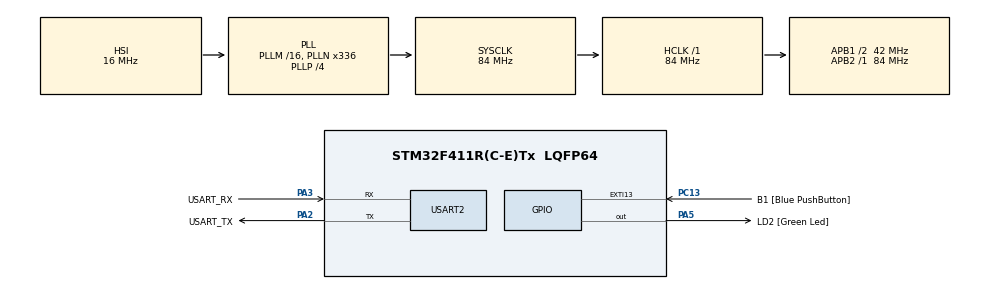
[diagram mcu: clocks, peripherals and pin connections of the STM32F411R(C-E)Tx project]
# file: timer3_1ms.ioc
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Mcu.Family=STM32F4
Mcu.Name=STM32F411R(C-E)Tx
Mcu.Package=LQFP64
NVIC.PriorityGroup=NVIC_PRIORITYGROUP_0
NVIC.TIM3_IRQn=true\:0\:0\:false\:false\:true\:true\:true\:true
PA13.GPIO_Label=TMS
PA13.Mode=Serial_Wire
PA13.Signal=SYS_JTMS-SWDIO
PA14.GPIO_Label=TCK
PA14.Mode=Serial_Wire
PA14.Signal=SYS_JTCK-SWCLK
PA2.GPIO_Label=USART_TX
PA2.Mode=Asynchronous
PA2.Signal=USART2_TX
PA3.GPIO_Label=USART_RX
PA3.Mode=Asynchronous
PA3.Signal=USART2_RX
PA5.GPIO_Label=LD2 [Green Led]
PA5.Signal=GPIO_Output
PB3.GPIO_Label=SWO
PB3.Signal=SYS_JTDO-SWO
PC13-ANTI_TAMP.GPIO_Label=B1 [Blue PushButton]
PC13-ANTI_TAMP.GPIO_ModeDefaultEXTI=GPIO_MODE_IT_FALLING
PC13-ANTI_TAMP.Signal=GPXTI13
PC14-OSC32_IN.Signal=RCC_OSC32_IN
PC15-OSC32_OUT.Signal=RCC_OSC32_OUT
PH0\ -\ OSC_IN.Signal=RCC_OSC_IN
PH1\ -\ OSC_OUT.Signal=RCC_OSC_OUT
ProjectManager.HeapSize=0x200
ProjectManager.StackSize=0x400
ProjectManager.TargetToolchain=STM32CubeIDE
RCC.48MHZClocksFreq_Value=84000000
RCC.AHBFreq_Value=84000000
RCC.APB1CLKDivider=RCC_HCLK_DIV2
RCC.APB1Freq_Value=42000000
RCC.APB1TimFreq_Value=84000000
RCC.APB2Freq_Value=84000000
RCC.APB2TimFreq_Value=84000000
RCC.CortexFreq_Value=84000000
RCC.FLatency-AdvancedSettings=FLASH_LATENCY_2
RCC.HCLKFreq_Value=84000000
RCC.HSE_VALUE=8000000
RCC.HSI_VALUE=16000000
RCC.LSE_VALUE=32768
RCC.PLLN=336
RCC.PLLP=RCC_PLLP_DIV4
RCC.SYSCLKFreq_VALUE=84000000
RCC.SYSCLKSource=RCC_SYSCLKSOURCE_PLLCLK
RCC.VCOOutputFreq_Value=336000000
TIM3.AutoReloadPreload=TIM_AUTORELOAD_PRELOAD_ENABLE
TIM3.Period=1000-1
TIM3.Prescaler=84-1
USART2.VirtualMode=VM_ASYNC
VP_TIM3_VS_ClockSourceINT.Mode=Internal
board=NUCLEO-F411RE

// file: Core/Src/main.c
/* USER CODE BEGIN Header */
/**
  ******************************************************************************
  * @file           : main.c
  * @brief          : Main program body
  ******************************************************************************
  * @attention
  *
  * Copyright (c) 2025 STMicroelectronics.
  * All rights reserved.
  *
  * This software is licensed under terms that can be found in the LICENSE file
  * in the root directory of this software component.
  * If no LICENSE file comes with this software, it is provided AS-IS.
  *
  ******************************************************************************
  */
/* USER CODE END Header */
#include "main.h"

/* USER CODE BEGIN Includes */
#include <stdio.h>
/* USER CODE END Includes */

/* USER CODE BEGIN PD */
#ifdef __GNUC__
/* With GCC, small printf (option LD Linker->Libraries->Small printf
   set to 'Yes') calls __io_putchar() */
#define PUTCHAR_PROTOTYPE int __io_putchar(int ch)
#else
#define PUTCHAR_PROTOTYPE int fputc(int ch, FILE *f)
#endif /* __GNUC__ */

/* USER CODE END PD */

TIM_HandleTypeDef htim3;

UART_HandleTypeDef huart2;

/* USER CODE BEGIN PV */
volatile int time3SecFlag = 0;
volatile unsigned int time3SecCnt = 0;
volatile unsigned int time3Cnt = 0;
volatile int time3CntFlag = 1;
/* USER CODE END PV */

void SystemClock_Config(void);
static void MX_GPIO_Init(void);
static void MX_USART2_UART_Init(void);
static void MX_TIM3_Init(void);

int main(void)
{

  /* MCU Configuration--------------------------------------------------------*/

  /* Reset of all peripherals, Initializes the Flash interface and the Systick. */
  HAL_Init();

  /* Configure the system clock */
  SystemClock_Config();

  /* Initialize all configured peripherals */
  MX_GPIO_Init();
  MX_USART2_UART_Init();
  MX_TIM3_Init();
  /* USER CODE BEGIN 2 */
  printf("main start()!!\r\n");
  if(HAL_TIM_Base_Start_IT(&htim3) != HAL_OK)
	  Error_Handler();

  /* USER CODE END 2 */

  /* Infinite loop */
  /* USER CODE BEGIN WHILE */
  while (1)
  {
	  if(time3SecFlag)
	  {
		  HAL_GPIO_TogglePin(LD2_GPIO_Port, LD2_Pin);
		  time3SecFlag = 0;
		  printf("time3SecCnt : %d \r\n", time3SecCnt);
		  if(time3SecCnt % 5) //5초 마다
		  {

		  }
	  }
	  if(time3CntFlag && !(time3Cnt % 100)) 	//100ms 마다
	  {
		  time3CntFlag = 0;
		  printf("time3SecCnt : %d \r\n", time3Cnt);
	  }

    /* USER CODE END WHILE */

  }
}

void SystemClock_Config(void)
{
  RCC_OscInitTypeDef RCC_OscInitStruct = {0};
  RCC_ClkInitTypeDef RCC_ClkInitStruct = {0};

  /** Configure the main internal regulator output voltage
  */
  __HAL_RCC_PWR_CLK_ENABLE();
  __HAL_PWR_VOLTAGESCALING_CONFIG(PWR_REGULATOR_VOLTAGE_SCALE1);

  /** Initializes the RCC Oscillators according to the specified parameters
  * in the RCC_OscInitTypeDef structure.
  */
  RCC_OscInitStruct.OscillatorType = RCC_OSCILLATORTYPE_HSI;
  RCC_OscInitStruct.HSIState = RCC_HSI_ON;
  RCC_OscInitStruct.HSICalibrationValue = RCC_HSICALIBRATION_DEFAULT;
  RCC_OscInitStruct.PLL.PLLState = RCC_PLL_ON;
  RCC_OscInitStruct.PLL.PLLSource = RCC_PLLSOURCE_HSI;
  RCC_OscInitStruct.PLL.PLLM = 16;
  RCC_OscInitStruct.PLL.PLLN = 336;
  RCC_OscInitStruct.PLL.PLLP = RCC_PLLP_DIV4;
  RCC_OscInitStruct.PLL.PLLQ = 4;
  if (HAL_RCC_OscConfig(&RCC_OscInitStruct) != HAL_OK)
  {
    Error_Handler();
  }

  /** Initializes the CPU, AHB and APB buses clocks
  */
  RCC_ClkInitStruct.ClockType = RCC_CLOCKTYPE_HCLK|RCC_CLOCKTYPE_SYSCLK
                              |RCC_CLOCKTYPE_PCLK1|RCC_CLOCKTYPE_PCLK2;
  RCC_ClkInitStruct.SYSCLKSource = RCC_SYSCLKSOURCE_PLLCLK;
  RCC_ClkInitStruct.AHBCLKDivider = RCC_SYSCLK_DIV1;
  RCC_ClkInitStruct.APB1CLKDivider = RCC_HCLK_DIV2;
  RCC_ClkInitStruct.APB2CLKDivider = RCC_HCLK_DIV1;

  if (HAL_RCC_ClockConfig(&RCC_ClkInitStruct, FLASH_LATENCY_2) != HAL_OK)
  {
    Error_Handler();
  }
}

static void MX_TIM3_Init(void)
{

  TIM_ClockConfigTypeDef sClockSourceConfig = {0};
  TIM_MasterConfigTypeDef sMasterConfig = {0};

  htim3.Instance = TIM3;
  htim3.Init.Prescaler = 84-1;
  htim3.Init.CounterMode = TIM_COUNTERMODE_UP;
  htim3.Init.Period = 1000-1;
  htim3.Init.ClockDivision = TIM_CLOCKDIVISION_DIV1;
  htim3.Init.AutoReloadPreload = TIM_AUTORELOAD_PRELOAD_ENABLE;
  if (HAL_TIM_Base_Init(&htim3) != HAL_OK)
  {
    Error_Handler();
  }
  sClockSourceConfig.ClockSource = TIM_CLOCKSOURCE_INTERNAL;
  if (HAL_TIM_ConfigClockSource(&htim3, &sClockSourceConfig) != HAL_OK)
  {
    Error_Handler();
  }
  sMasterConfig.MasterOutputTrigger = TIM_TRGO_RESET;
  sMasterConfig.MasterSlaveMode = TIM_MASTERSLAVEMODE_DISABLE;
  if (HAL_TIMEx_MasterConfigSynchronization(&htim3, &sMasterConfig) != HAL_OK)
  {
    Error_Handler();
  }

}

static void MX_USART2_UART_Init(void)
{

  huart2.Instance = USART2;
  huart2.Init.BaudRate = 115200;
  huart2.Init.WordLength = UART_WORDLENGTH_8B;
  huart2.Init.StopBits = UART_STOPBITS_1;
  huart2.Init.Parity = UART_PARITY_NONE;
  huart2.Init.Mode = UART_MODE_TX_RX;
  huart2.Init.HwFlowCtl = UART_HWCONTROL_NONE;
  huart2.Init.OverSampling = UART_OVERSAMPLING_16;
  if (HAL_UART_Init(&huart2) != HAL_OK)
  {
    Error_Handler();
  }

}

static void MX_GPIO_Init(void)
{
  GPIO_InitTypeDef GPIO_InitStruct = {0};

  /* GPIO Ports Clock Enable */
  __HAL_RCC_GPIOC_CLK_ENABLE();
  __HAL_RCC_GPIOH_CLK_ENABLE();
  __HAL_RCC_GPIOA_CLK_ENABLE();
  __HAL_RCC_GPIOB_CLK_ENABLE();

  /*Configure GPIO pin Output Level */
  HAL_GPIO_WritePin(LD2_GPIO_Port, LD2_Pin, GPIO_PIN_RESET);

  /*Configure GPIO pin : B1_Pin */
  GPIO_InitStruct.Pin = B1_Pin;
  GPIO_InitStruct.Mode = GPIO_MODE_IT_FALLING;
  GPIO_InitStruct.Pull = GPIO_NOPULL;
  HAL_GPIO_Init(B1_GPIO_Port, &GPIO_InitStruct);

  /*Configure GPIO pin : LD2_Pin */
  GPIO_InitStruct.Pin = LD2_Pin;
  GPIO_InitStruct.Mode = GPIO_MODE_OUTPUT_PP;
  GPIO_InitStruct.Pull = GPIO_NOPULL;
  GPIO_InitStruct.Speed = GPIO_SPEED_FREQ_LOW;
  HAL_GPIO_Init(LD2_GPIO_Port, &GPIO_InitStruct);

}

/* USER CODE BEGIN 4 */
void HAL_TIM_PeriodElapsedCallback(TIM_HandleTypeDef * htim)
{
	time3Cnt++;			  //1ms
	time3CntFlag = 1;
	if(time3Cnt >= 1000)  //1ms * 1000 = 1sec
	{
		time3SecFlag = 1;
		time3SecCnt++;
		time3Cnt = 0;		//1ms
	}
}

/**
  * @brief  Retargets the C library printf function to the USART.
  * @param  None
  * @retval None
  */
PUTCHAR_PROTOTYPE
{
  /* Place your implementation of fputc here */
  /* e.g. write a character to the USART6 and Loop until the end of transmission */
  HAL_UART_Transmit(&huart2, (uint8_t *)&ch, 1, 0xFFFF);

  return ch;
}
/* USER CODE END 4 */

void Error_Handler(void)
{
  __disable_irq();
  while (1)
  {
  }
}
